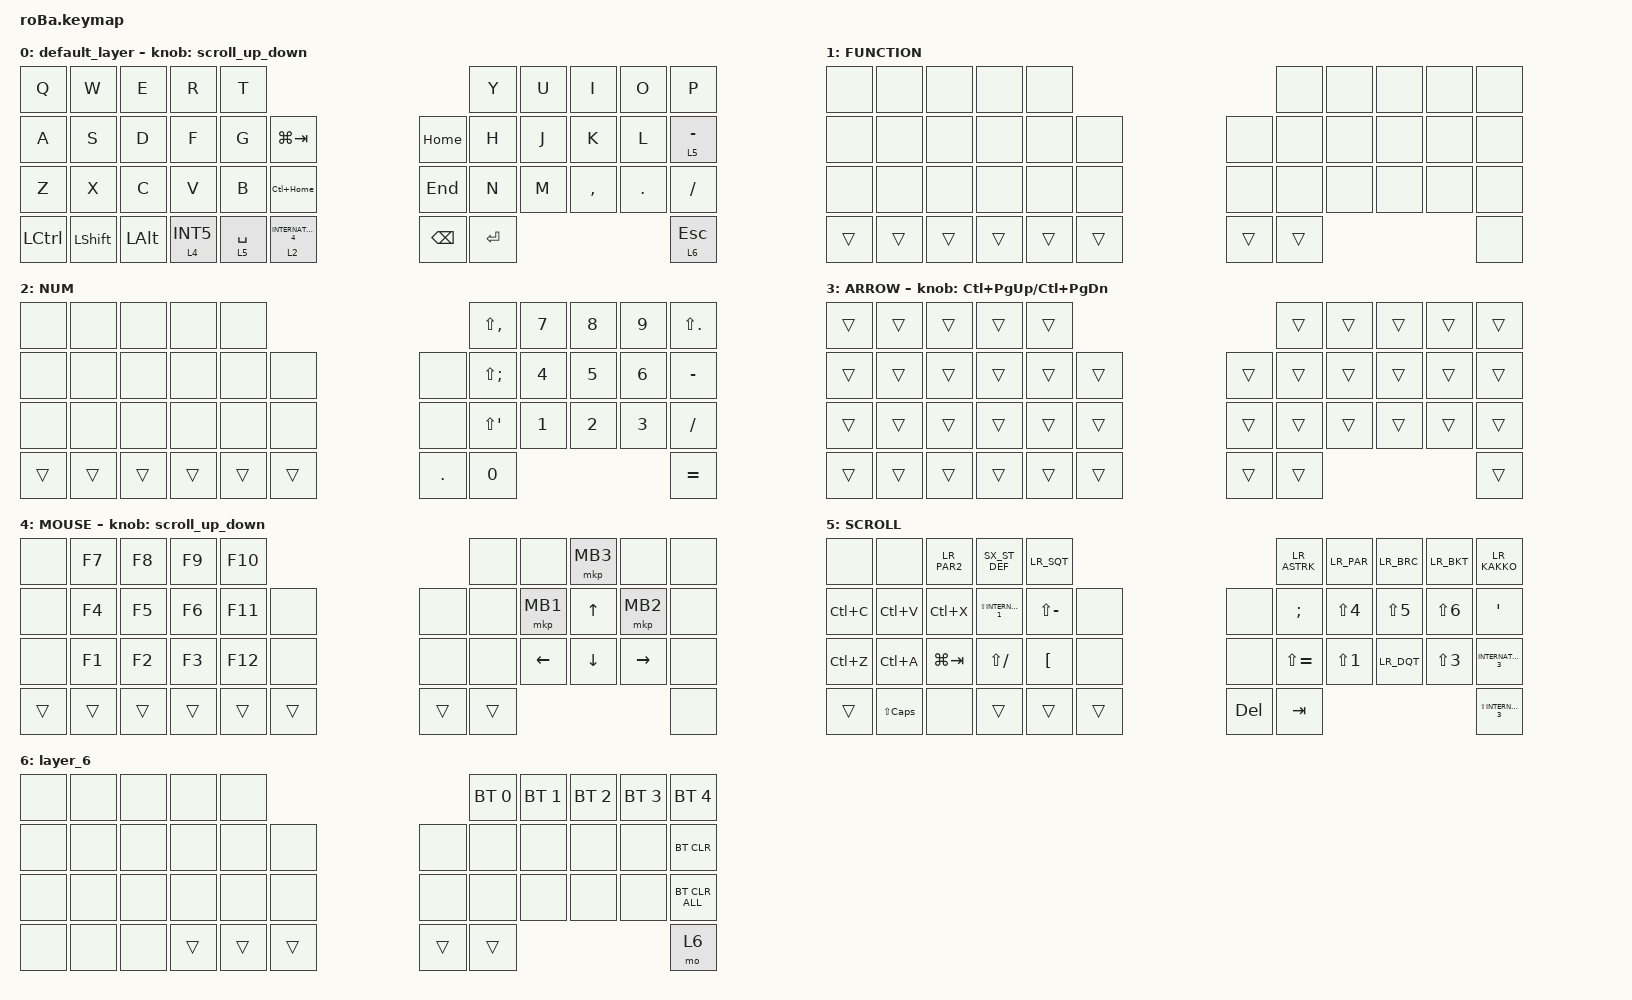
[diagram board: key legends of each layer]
#include <behaviors.dtsi>
#include <dt-bindings/zmk/bt.h>
#include <dt-bindings/zmk/keys.h>
#include <dt-bindings/zmk/pointing.h>

#define ZMK_POINTING_DEFAULT_SCRL_VAL 100
#define MOUSE 4
#define SCROLL 5
#define NUM 6

&mt {
    flavor = "balanced";
    quick-tap-ms = <0>;
};

&sl { release-after-ms = <250>; };

/ {
    combos {
        compatible = "zmk,combos";

        tab {
            bindings = <&kp TAB>;
            key-positions = <11 12>;
        };

        shift_tab {
            bindings = <&kp LS(TAB)>;
            key-positions = <12 13>;
        };

        muhennkann {
            bindings = <&to_layer_0 INT_MUHENKAN>;
            key-positions = <11 10>;
        };

        double_quotation {
            bindings = <&kp DOUBLE_QUOTES>;
            key-positions = <20 21>;
        };

        eq {
            bindings = <&kp EQUAL>;
            key-positions = <24 25>;
        };
    };

    macros {
        to_layer_0: to_layer_0 {
            compatible = "zmk,behavior-macro-one-param";
            #binding-cells = <1>;
            bindings = <&to 0 &macro_param_1to1 &kp MACRO_PLACEHOLDER>;
            label = "TO_LAYER_0";
        };

        LR_PAR: LR_PAR {
            compatible = "zmk,behavior-macro";
            #binding-cells = <0>;
            bindings = <&kp INT5 &kp LS(N8) &kp LS(N9) &kp LEFT>;
            label = "LR_PAR";
        };

        LR_BRC: LR_BRC {
            compatible = "zmk,behavior-macro";
            #binding-cells = <0>;
            bindings = <&kp INTERNATIONAL_5 &kp LS(RBKT) &kp LS(NUHS) &kp LEFT>;
            label = "LR_BRC";
        };

        LR_BKT: LR_BKT {
            compatible = "zmk,behavior-macro";
            #binding-cells = <0>;
            bindings = <&kp INTERNATIONAL_5 &kp RBKT &kp NUHS &kp LEFT>;
            label = "LR_BKT";
        };

        LR_KAKKO: LR_KAKKO {
            compatible = "zmk,behavior-macro";
            #binding-cells = <0>;
            bindings = <&kp INTERNATIONAL_4 &kp RBKT &kp NUHS &kp ENTER &kp LEFT>;
            label = "LR_KAKKO";
        };

        LR_SQT: LR_SQT {
            compatible = "zmk,behavior-macro";
            #binding-cells = <0>;
            bindings = <&kp INTERNATIONAL_5 &kp LS(N7) &kp LS(N7) &kp LEFT>;
            label = "LR_SQT";
        };

        LR_DQT: LR_DQT {
            compatible = "zmk,behavior-macro";
            #binding-cells = <0>;
            bindings = <&kp INTERNATIONAL_5 &kp LS(NUMBER_2) &kp LS(NUMBER_2) &kp LEFT>;
            label = "LR_DQT";
        };

        LR_ASTRK: LR_ASTRK {
            compatible = "zmk,behavior-macro";
            #binding-cells = <0>;
            bindings = <&kp INTERNATIONAL_5 &kp LS(SQT) &kp LS(SQT) &kp LEFT_ARROW>;
            label = "LR_ASTRK";
        };

        SX_ST_DEF: SX_ST_DEF {
            compatible = "zmk,behavior-macro";
            #binding-cells = <0>;
            bindings = <&kp INTERNATIONAL_5 &kp SQT &kp LS(MINUS) &kp SPACE &kp SPACE &kp SEMI &kp LEFT &kp LEFT>;
            label = "SX_ST_DEF";
        };

        mkp_exit_AML: mkp_exit_AML {
            compatible = "zmk,behavior-macro-one-param";
            #binding-cells = <1>;
            bindings =
                <&macro_press>,
                <&macro_param_1to1 &mkp MACRO_PLACEHOLDER>,
                <&macro_pause_for_release>,
                <&macro_release>,
                <&macro_param_1to1 &mkp MACRO_PLACEHOLDER>,
                <&macro_tap>,
                <&sl MOUSE>;

            label = "MKP_EXIT_AML";
        };

        exit_AML: exit_AML {
            compatible = "zmk,behavior-macro";
            wait-ms = <0>;
            tap-ms = <0>;
            #binding-cells = <0>;
            bindings = <&tog_off MOUSE>;
            label = "exit_AML";
        };

        kp_exit_AML: kp_exit_AML {
            compatible = "zmk,behavior-macro-one-param";
            wait-ms = <0>;
            tap-ms = <0>;
            #binding-cells = <1>;
            bindings = <&macro_param_1to1 &kp MACRO_PLACEHOLDER &exit_AML>;
            label = "KP_exit_AML";
        };

        mod_exit_AML: mod_exit_AML {
            compatible = "zmk,behavior-macro-one-param";
            wait-ms = <0>;
            tap-ms = <0>;
            #binding-cells = <1>;
            bindings =
                <&macro_press>,
                <&macro_param_1to1 &kp MACRO_PLACEHOLDER>,
                <&macro_tap>,
                <&exit_AML>,
                <&macro_pause_for_release>,
                <&macro_release>,
                <&macro_param_1to1 &kp MACRO_PLACEHOLDER>;

            label = "MOD_exit_AML";
        };

        mo_exit_AML: mo_exit_AML {
            compatible = "zmk,behavior-macro-one-param";
            wait-ms = <0>;
            tap-ms = <0>;
            #binding-cells = <1>;
            bindings =
                <&macro_press>,
                <&macro_param_1to1 &mo MACRO_PLACEHOLDER>,
                <&macro_tap>,
                <&exit_AML>,
                <&macro_pause_for_release>,
                <&macro_release>,
                <&macro_param_1to1 &mo MACRO_PLACEHOLDER>,
                <&macro_tap>;

            label = "MO_exit_AML";
        };

        LR_PAR2: LR_PAR2 {
            compatible = "zmk,behavior-macro";
            #binding-cells = <0>;
            bindings = <&kp INTERNATIONAL_4 &kp LS(N8) &kp LS(N9) &kp ENTER &kp LEFT>;
            label = "LR_PAR2";
        };
    };

    behaviors {
        lt_to_layer_0: lt_to_layer_0 {
            compatible = "zmk,behavior-hold-tap";
            label = "LAYER_TAP_TO_0";
            bindings = <&mo>, <&to_layer_0>;

            #binding-cells = <2>;
            tapping-term-ms = <200>;
        };

        tog_off: toggle_layer_off {
            compatible = "zmk,behavior-toggle-layer";
            #binding-cells = <1>;
            display-name = "Toggle Layer Off";
            toggle-mode = "off";
        };

        lt_exit_AML: lt_exit_AML {
            compatible = "zmk,behavior-hold-tap";
            label = "LT_exit_AML";
            bindings = <&mo_exit_AML>, <&kp_exit_AML>;

            #binding-cells = <2>;
            tapping-term-ms = <200>;
            quick-tap-ms = <200>;
            flavor = "balanced";
        };

        scroll_up_down: behavior_sensor_rotate_mouse_wheel_up_down {
            compatible = "zmk,behavior-sensor-rotate";
            #sensor-binding-cells = <0>;
            bindings = <&msc SCRL_DOWN>, <&msc SCRL_UP>;

            tap-ms = <25>;
        };
    };

    keymap {
        compatible = "zmk,keymap";

        default_layer {
            bindings = <
&kp Q      &kp W           &kp E         &kp R                  &kp T                                                                        &kp Y      &kp U  &kp I      &kp O    &kp P
&kp A      &kp S           &kp D         &kp F                  &kp G                   &kp LG(TAB)                           &kp HOME       &kp H      &kp J  &kp K      &kp L    &lt_to_layer_0 5 MINUS
&kp Z      &kp X           &kp C         &kp V                  &kp B                   &kp LC(HOME)                          &kp END        &kp N      &kp M  &kp COMMA  &kp DOT  &kp SLASH
&kp LCTRL  &kp LEFT_SHIFT  &kp LEFT_ALT  &lt_to_layer_0 4 INT5  &lt_to_layer_0 5 SPACE  &lt_to_layer_0 2 INTERNATIONAL_4      &kp BACKSPACE  &kp ENTER                             &lt_to_layer_0 6 ESCAPE
            >;

            sensor-bindings = <&scroll_up_down>;
        };

        FUNCTION {
            bindings = <
&none   &none   &none   &none   &none                       &none   &none  &none  &none  &none
&none   &none   &none   &none   &none   &none       &none   &none   &none  &none  &none  &none
&none   &none   &none   &none   &none   &none       &none   &none   &none  &none  &none  &none
&trans  &trans  &trans  &trans  &trans  &trans      &trans  &trans                       &none
            >;
        };

        NUM {
            bindings = <
&none   &none   &none   &none   &none                           &kp LS(COMMA)  &kp N7        &kp N8        &kp N9        &kp LS(DOT)
&none   &none   &none   &none   &none   &none       &none       &kp LS(SEMI)   &kp NUMBER_4  &kp N5        &kp NUMBER_6  &kp MINUS
&none   &none   &none   &none   &none   &none       &none       &kp LS(SQT)    &kp NUMBER_1  &kp NUMBER_2  &kp NUMBER_3  &kp SLASH
&trans  &trans  &trans  &trans  &trans  &trans      &kp PERIOD  &kp NUMBER_0                                             &kp EQUAL
            >;
        };

        ARROW {
            bindings = <
&trans  &trans  &trans  &trans  &trans                      &trans  &trans  &trans  &trans  &trans
&trans  &trans  &trans  &trans  &trans  &trans      &trans  &trans  &trans  &trans  &trans  &trans
&trans  &trans  &trans  &trans  &trans  &trans      &trans  &trans  &trans  &trans  &trans  &trans
&trans  &trans  &trans  &trans  &trans  &trans      &trans  &trans                          &trans
            >;

            sensor-bindings = <&inc_dec_kp LC(PAGE_UP) LC(PAGE_DOWN)>;
        };

        MOUSE {
            bindings = <
&none   &kp F7  &kp F8  &kp F9  &kp F10                      &none   &none     &mkp MB3  &none      &none
&none   &kp F4  &kp F5  &kp F6  &kp F11  &none       &none   &none   &mkp MB1  &kp UP    &mkp MB2   &none
&none   &kp F1  &kp F2  &kp F3  &kp F12  &none       &none   &none   &kp LEFT  &kp DOWN  &kp RIGHT  &none
&trans  &trans  &trans  &trans  &trans   &trans      &trans  &trans                                 &none
            >;

            sensor-bindings = <&scroll_up_down>;
        };

        SCROLL {
            bindings = <
&none      &none             &LR_PAR2     &SX_ST_DEF               &LR_SQT                             &LR_ASTRK      &LR_PAR           &LR_BRC     &LR_BKT           &LR_KAKKO
&kp LC(C)  &kp LC(V)         &kp LC(X)    &kp LS(INTERNATIONAL_1)  &kp LS(MINUS)  &none       &none    &kp SEMI       &kp LS(NUMBER_4)  &kp LS(N5)  &kp LS(NUMBER_6)  &kp SQT
&kp LC(Z)  &kp LC(A)         &kp LG(TAB)  &kp LS(SLASH)            &kp LBKT       &none       &none    &kp LS(EQUAL)  &kp LS(NUMBER_1)  &LR_DQT     &kp LS(NUMBER_3)  &kp INTERNATIONAL_3
&trans     &kp LS(CAPSLOCK)  &none        &trans                   &trans         &trans      &kp DEL  &kp TAB                                                        &kp LS(INTERNATIONAL_3)
            >;
        };

        layer_6 {
            bindings = <
&none  &none  &none  &none   &none                       &bt BT_SEL 0  &bt BT_SEL 1  &bt BT_SEL 2  &bt BT_SEL 3  &bt BT_SEL 4
&none  &none  &none  &none   &none   &none       &none   &none         &none         &none         &none         &bt BT_CLR
&none  &none  &none  &none   &none   &none       &none   &none         &none         &none         &none         &bt BT_CLR_ALL
&none  &none  &none  &trans  &trans  &trans      &trans  &trans                                                  &mo 6
            >;
        };
    };

    ttp224tap: ttp224tap {
        compatible = "zmk,kscan-sideband-behaviors";
        kscan = <&touchkey1>;
        auto-enable;

        touch {
            column = <0>;
            row = <0>;
            bindings = <&mo 4>;
        };
    };
};
